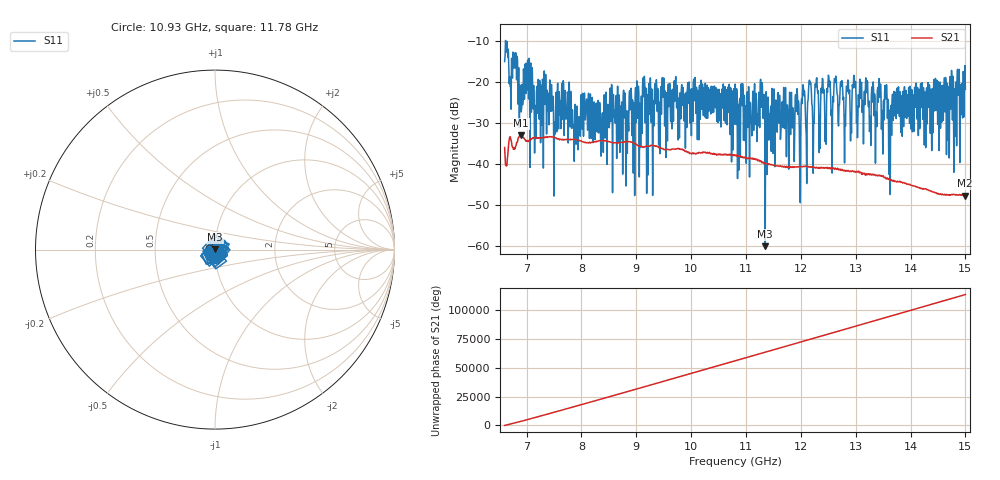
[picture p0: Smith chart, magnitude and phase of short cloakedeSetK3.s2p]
!Keysight Technologies,N5235B,MY61252044,A.15.00.15
!Date: Saturday, January 21, 2023 00:10:01
!Correction: S11(Off)
!S21(Off)
!S12(Off)
!S22(Off)
!S2P File: Measurements: S11, S21, S12, S22:
# Hz S  RI  R 50
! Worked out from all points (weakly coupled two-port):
!   1000 points, 6.6 GHz to 15 GHz, reference 50 ohm
!   highest |S21| = -33.07 dB at 6.903 GHz (marker M1); lowest = -47.8 dB at 14.99 GHz (marker M2)
!   lowest |S11| = -60.2 dB at 11.35 GHz (marker M3), VSWR 1.00, Z = 50 + j0.0971 ohm
!   |S11| at or under -10 dB: start of sweep to 6.616611 GHz; 6.617 GHz to end of sweep
!   S12 and S22 are empty: the file has one direction only
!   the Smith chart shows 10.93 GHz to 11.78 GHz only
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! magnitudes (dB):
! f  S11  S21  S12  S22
! 6.6 GHz  -15.1  -36.1  -  -
! 6.701 GHz  -21.1  -33.4  -  -
! 6.793 GHz  -16.6  -36.2  -  -
! 6.903 GHz  -27.4  -33.1  -  -
! 7.012 GHz  -22.0  -34.5  -  -
! 7.155 GHz  -25.8  -33.6  -  -
! 8.004 GHz  -28.1  -34.6  -  -
! 8.82 GHz  -27.1  -34.6  -  -
! 9.4 GHz  -23.1  -35.9  -  -
! 10.8 GHz  -20.6  -38.1  -  -
! 11.3 GHz  -21.2  -39.7  -  -
! 11.35 GHz  -60.2  -39.8  -  -
! 11.93 GHz  -21.7  -40.8  -  -
! 11.98 GHz  -43.0  -40.7  -  -
! 12.17 GHz  -20.5  -40.8  -  -
! 12.2 GHz  -25.5  -40.8  -  -
! 12.97 GHz  -18.5  -41.9  -  -
! 13.55 GHz  -24.2  -43.7  -  -
! 13.6 GHz  -42.6  -43.8  -  -
! 13.74 GHz  -29.0  -44.4  -  -
! 14.99 GHz  -16.0  -47.8  -  -
! 15 GHz  -21.9  -47.7  -  -
